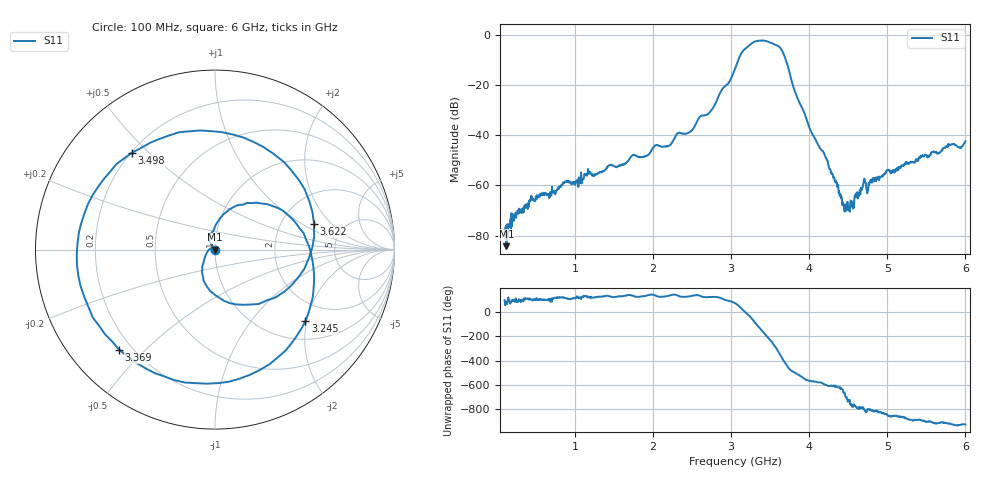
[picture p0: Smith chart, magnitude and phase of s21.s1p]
! Created with skrf 1.9.0 (http://scikit-rf.org).
# MHz S RI R 50.0
!freq ReS11 ImS11
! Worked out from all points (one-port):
!   1001 points, 100 MHz to 6 GHz, reference 50 ohm
!   lowest |S11| = -84.2 dB at 123.6 MHz (marker M1), VSWR 1.00, Z = 50 + j0.00614 ohm
!   |S11| at or under -10 dB: start of sweep to 3.092 GHz; 3.703 GHz to end of sweep
!   S11 on the Smith chart (normalised r, x): 100 MHz: 1.00, +0.00; 3.245 GHz: 1.46, -1.97; 3.369 GHz: 0.15, -0.42; 3.498 GHz: 0.20, +0.44; 3.622 GHz: 3.06, +1.28; 6 GHz: 0.99, +0.01
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100  -1.67e-05 9.86e-05
123.6  1.25e-06 6.14e-05
442.2  -0.000147 0.000606
837.5  -0.000518 0.000881
1575  -0.00167 0.00188
2200.4  -0.0044 0.00425
2312.5  -0.00812 0.00733
2471.8  -0.00783 0.00865
2731.4  -0.0171 0.0241
3050  0.056 0.2035
3132.6  0.3776 0.2178
3191.6  0.5425 -0.059
3244.7  0.5037 -0.3971
3309.6  0.016 -0.7439
3368.6  -0.5343 -0.5579
3433.5  -0.7661 0.032
3498.4  -0.464 0.539
3557.4  0.104 0.6402
3622.3  0.5519 0.1412
3687.2  0.2013 -0.3059
3787.5  -0.0664 -0.0794
4017.6  -0.011 0.00587
4206.4  -0.00185 0.00326
4436.5  0.000233 0.000364
4525  0.000299 -0.000279
4696.1  0.000333 -0.00111
5262.5  -0.00272 -0.000802
6000  -0.0067 0.00366
